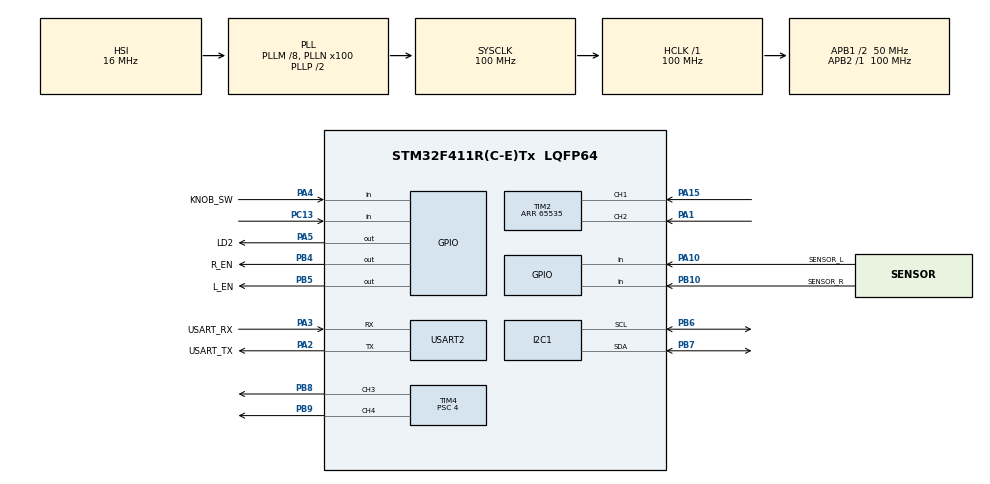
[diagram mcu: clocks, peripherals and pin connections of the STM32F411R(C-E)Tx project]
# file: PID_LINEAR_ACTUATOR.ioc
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Dma.Request0=USART2_TX
Dma.USART2_TX.0.Direction=DMA_MEMORY_TO_PERIPH
Dma.USART2_TX.0.FIFOMode=DMA_FIFOMODE_DISABLE
Dma.USART2_TX.0.Instance=DMA1_Stream6
Dma.USART2_TX.0.MemDataAlignment=DMA_MDATAALIGN_BYTE
Dma.USART2_TX.0.MemInc=DMA_MINC_ENABLE
Dma.USART2_TX.0.Mode=DMA_NORMAL
Dma.USART2_TX.0.PeriphDataAlignment=DMA_PDATAALIGN_BYTE
Dma.USART2_TX.0.PeriphInc=DMA_PINC_DISABLE
Dma.USART2_TX.0.Priority=DMA_PRIORITY_LOW
I2C1.I2C_Mode=I2C_Fast
Mcu.Family=STM32F4
Mcu.Name=STM32F411R(C-E)Tx
Mcu.Package=LQFP64
NVIC.DMA1_Stream6_IRQn=true\:0\:0\:false\:false\:true\:false\:true\:true
NVIC.PriorityGroup=NVIC_PRIORITYGROUP_0
NVIC.TIM1_UP_TIM10_IRQn=true\:0\:0\:false\:false\:true\:true\:true\:true
NVIC.USART2_IRQn=true\:0\:0\:false\:false\:true\:true\:true\:true
PA1.Signal=S_TIM2_CH2
PA10.GPIO_Label=SENSOR_L
PA10.Signal=GPIO_Input
PA13.GPIO_Label=TMS
PA13.Mode=Serial_Wire
PA13.Signal=SYS_JTMS-SWDIO
PA14.GPIO_Label=TCK
PA14.Mode=Serial_Wire
PA14.Signal=SYS_JTCK-SWCLK
PA15.Signal=S_TIM2_CH1_ETR
PA2.GPIO_Label=USART_TX
PA2.Mode=Asynchronous
PA2.Signal=USART2_TX
PA3.GPIO_Label=USART_RX
PA3.Mode=Asynchronous
PA3.Signal=USART2_RX
PA4.GPIO_Label=KNOB_SW
PA4.GPIO_PuPd=GPIO_PULLUP
PA4.Signal=GPIO_Input
PA5.GPIO_Label=LD2
PA5.Signal=GPIO_Output
PB10.GPIO_Label=SENSOR_R
PB10.Signal=GPIO_Input
PB3.GPIO_Label=SWO
PB3.Signal=SYS_JTDO-SWO
PB4.GPIO_Label=R_EN
PB4.Signal=GPIO_Output
PB5.GPIO_Label=L_EN
PB5.Signal=GPIO_Output
PB6.Mode=I2C
PB6.Signal=I2C1_SCL
PB7.Mode=I2C
PB7.Signal=I2C1_SDA
PB8.Signal=S_TIM4_CH3
PB9.Signal=S_TIM4_CH4
PC13-ANTI_TAMP.Signal=GPIO_Input
PC14-OSC32_IN.Mode=LSE-External-Oscillator
PC14-OSC32_IN.Signal=RCC_OSC32_IN
PC15-OSC32_OUT.Mode=LSE-External-Oscillator
PC15-OSC32_OUT.Signal=RCC_OSC32_OUT
PH0\ -\ OSC_IN.Mode=HSE-External-Clock-Source
PH0\ -\ OSC_IN.Signal=RCC_OSC_IN
PH1\ -\ OSC_OUT.Mode=HSE-External-Clock-Source
PH1\ -\ OSC_OUT.Signal=RCC_OSC_OUT
ProjectManager.HeapSize=0x200
ProjectManager.StackSize=0x400
ProjectManager.TargetToolchain=STM32CubeIDE
RCC.48MHZClocksFreq_Value=50000000
RCC.AHBFreq_Value=100000000
RCC.APB1CLKDivider=RCC_HCLK_DIV2
RCC.APB1Freq_Value=50000000
RCC.APB1TimFreq_Value=100000000
RCC.APB2Freq_Value=100000000
RCC.APB2TimFreq_Value=100000000
RCC.CortexFreq_Value=100000000
RCC.FLatency-AdvancedSettings=FLASH_LATENCY_3
RCC.HCLKFreq_Value=100000000
RCC.HSE_VALUE=8000000
RCC.HSI_VALUE=16000000
RCC.PLLM=8
RCC.PLLN=100
RCC.SYSCLKFreq_VALUE=100000000
RCC.SYSCLKSource=RCC_SYSCLKSOURCE_PLLCLK
RCC.VCOOutputFreq_Value=200000000
SH.S_TIM2_CH1_ETR.0=TIM2_CH1,Encoder_Interface
SH.S_TIM2_CH2.0=TIM2_CH2,Encoder_Interface
SH.S_TIM4_CH3.0=TIM4_CH3,PWM Generation3 CH3
SH.S_TIM4_CH4.0=TIM4_CH4,PWM Generation4 CH4
TIM10.Period=1999
TIM10.Prescaler=99
TIM2.IC1Filter=15
TIM2.IC2Filter=15
TIM2.Period=65535
TIM4.Channel-PWM\ Generation3\ CH3=TIM_CHANNEL_3
TIM4.Channel-PWM\ Generation4\ CH4=TIM_CHANNEL_4
TIM4.Period=999
TIM4.Prescaler=4
USART2.VirtualMode=VM_ASYNC
VP_TIM10_VS_ClockSourceINT.Mode=Enable_Timer
board=NUCLEO-F411RE

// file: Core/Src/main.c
/* USER CODE BEGIN Header */
/**
******************************************************************************
* @file : main.c
* @brief : Main program body
******************************************************************************
* @attention
*
* Copyright (c) 2026 STMicroelectronics.
* All rights reserved.
*
* This software is licensed under terms that can be found in the LICENSE file
* in the root directory of this software component.
* If no LICENSE file comes with this software, it is provided AS-IS.
*
******************************************************************************
*/
/* USER CODE END Header */
#include "main.h"
/* USER CODE BEGIN Includes */
#include <stdio.h>
#include <string.h>
#include <stdlib.h>
//#include "lcd_i2c.h"
/* USER CODE END Includes */

I2C_HandleTypeDef hi2c1;
TIM_HandleTypeDef htim2;
TIM_HandleTypeDef htim4;
TIM_HandleTypeDef htim10;
UART_HandleTypeDef huart2;
DMA_HandleTypeDef hdma_usart2_tx;

/* USER CODE BEGIN PV */

#define MIN_PWM 0
#define MAX_PWM 275 // Maksimum bo powyżej zasilacz/sterownik odcina
#define AS5600_ADDR (0x36 << 1)
#define RAW_ANGLE_REG 0x0C
#define IMPULSES_PER_MM   3296    // Ile impulsów enkodera na 1mm
#define MOTOR_DEADZONE    20      // Poniżej tego PWM silnik buczy a nie jedzie
#define HOMING_SPEED      -200    // Prędkość bazowania
#define HOMING_TIMEOUT_MS 10000   // 10 sekund na znalezienie bazy (inaczej BŁĄD)
#define MAX_TRAVEL_MM     255     // Maksymalny wysuw
#define PID_INTERVAL_MS   2       // Co ile działa PID (zgodnie z ustawieniami Timer10)
#define PID_DEADBAND 400

// --- ZMIENNE SYSTEMOWE ---

volatile int32_t total_position = 0;
volatile int32_t active_target_imp = 0;
volatile int motor_pwm = 0;
volatile uint16_t last_angle = 0;
volatile int is_first_read = 1;
int16_t knob_val = 0;
int32_t preview_position_mm = 0;
uint32_t last_button_time = 0;
char msg[128];
uint32_t uart_timer = 0;

// --- ZMIENNE PID ---
float Kp = 0.05;  // Wzmocnienie proporcjonalne
float Ki = 0.05;  // Całka
float Kd = 0.02; // Różniczka

int32_t error = 0;
int32_t last_error = 0;
int32_t integral = 0;

// Zmienne do komunikacji z PC
uint8_t rx_byte;
uint8_t rx_buffer[32];
uint8_t rx_index = 0;
volatile uint8_t cmd_received_flag = 0;
volatile uint8_t control_mode = 0;// Flaga sterowania: 0 = Gałka (Manual), 1 = PC (Automat)

/* USER CODE END PV */

void SystemClock_Config(void);
static void MX_GPIO_Init(void);
static void MX_DMA_Init(void);
static void MX_USART2_UART_Init(void);
static void MX_I2C1_Init(void);
static void MX_TIM2_Init(void);
static void MX_TIM4_Init(void);
static void MX_TIM10_Init(void);

/* USER CODE BEGIN 0 */

// Funkcje pomocnicze

// Nastawienie prędkości
void Set_Motor_Speed(int speed) {
    if (abs(speed) < MOTOR_DEADZONE) {
        __HAL_TIM_SET_COMPARE(&htim4, TIM_CHANNEL_3, 0);
        __HAL_TIM_SET_COMPARE(&htim4, TIM_CHANNEL_4, 0);
        return;
    }

    int abs_speed = abs(speed);
    if (abs_speed < MIN_PWM) abs_speed = MIN_PWM;
    if (abs_speed > MAX_PWM) abs_speed = MAX_PWM;

    if (speed > 0) {
        __HAL_TIM_SET_COMPARE(&htim4, TIM_CHANNEL_3, abs_speed);
        __HAL_TIM_SET_COMPARE(&htim4, TIM_CHANNEL_4, 0);
    } else {
        __HAL_TIM_SET_COMPARE(&htim4, TIM_CHANNEL_3, 0);
        __HAL_TIM_SET_COMPARE(&htim4, TIM_CHANNEL_4, abs_speed);
    }
}

// Odczyt z enkodera magnetycznego
uint16_t AS5600_ReadAngle(void) {
    uint8_t raw_data[2];
    // Timeout 2ms - musi być krótki, bo jesteśmy w przerwaniu!
    if (HAL_I2C_Mem_Read(&hi2c1, AS5600_ADDR, RAW_ANGLE_REG, I2C_MEMADD_SIZE_8BIT, raw_data, 2, 2) == HAL_OK) {
        return ((raw_data[0] << 8) | raw_data[1]);
    }
    return last_angle;
}

// Update pozycji
void Update_Position() {
    uint16_t curr_angle = AS5600_ReadAngle();
    if (is_first_read) {
        last_angle = curr_angle;
        is_first_read = 0; return;
    }
    int32_t diff = curr_angle - last_angle;
    if (diff > 2048)       total_position -= (4096 - diff);
    else if (diff < -2048) total_position += (4096 + diff);
    else                   total_position += diff;
    last_angle = curr_angle;
}

// Regulator
int Calculate_PID(int32_t current_pos, int32_t target_pos) {
    // 1. Error
    error = current_pos - target_pos;

    if (abs(error) < PID_DEADBAND) {
            error = 0;
            last_error = 0;
            integral = 0;
            return 0;
        }

    // 2. Proportional
    float P = error * Kp;

    // 3. Integral (z Anti-Windup)
    integral += error;
    //if (integral > 2000) integral = 2000;
    //if (integral < -2000) integral = -2000;
    float I = integral * Ki;

    // 4. Derivative
    float D = (error - last_error) * Kd;
    last_error = error;

    int output = (int)(P + I + D);
    if (output > MAX_PWM) output = MAX_PWM;
    if (output < -MAX_PWM) output = -MAX_PWM;

    return output;
}

//  bazowanie z timeoutem
void Auto_Homing(void) {
    char info[] = "BAZOWANIE...\r\n";
    HAL_UART_Transmit(&huart2, (uint8_t*)info, strlen(info), 100);

    Set_Motor_Speed(HOMING_SPEED);

    uint32_t start_tick = HAL_GetTick();

    while (HAL_GPIO_ReadPin(GPIOA, GPIO_PIN_10) != GPIO_PIN_RESET) {
        if (HAL_GetTick() - start_tick > HOMING_TIMEOUT_MS) {
            Set_Motor_Speed(0);
            char err[] = "BLAD: TIMEOUT KRANCOWKI!\r\n";
            HAL_UART_Transmit(&huart2, (uint8_t*)err, strlen(err), 100);
            while(1);
        }
    }

    Set_Motor_Speed(0);
    HAL_Delay(500);
    // Reset systemu
    __disable_irq(); // Wyłączamy przerwania na moment zerowania
    total_position = 0;
    active_target_imp = 0;
    last_angle = AS5600_ReadAngle();
    is_first_read = 0;
    __enable_irq();
    __HAL_TIM_SET_COUNTER(&htim2, 0);
    char ok[] = "BAZOWANIE OK. START.\r\n";
    HAL_UART_Transmit(&huart2, (uint8_t*)ok, strlen(ok), 100);
}

/* USER CODE END 0 */

int main(void)
{

  /* MCU Configuration--------------------------------------------------------*/

  /* Reset of all peripherals, Initializes the Flash interface and the Systick. */
  HAL_Init();

  /* Configure the system clock */
  SystemClock_Config();

  /* Initialize all configured peripherals */
  MX_GPIO_Init();
  MX_DMA_Init();
  MX_USART2_UART_Init();
  MX_I2C1_Init();
  MX_TIM2_Init();
  MX_TIM4_Init();
  MX_TIM10_Init();
  /* USER CODE BEGIN 2 */
  HAL_GPIO_WritePin(GPIOB, GPIO_PIN_5, GPIO_PIN_SET);
  HAL_GPIO_WritePin(GPIOB, GPIO_PIN_4, GPIO_PIN_SET);
  HAL_TIM_PWM_Start(&htim4, TIM_CHANNEL_3);
  HAL_TIM_PWM_Start(&htim4, TIM_CHANNEL_4);
  HAL_TIM_Encoder_Start(&htim2, TIM_CHANNEL_ALL);

  // Bazowanie
  Auto_Homing();
  HAL_TIM_Base_Start_IT(&htim10);
  HAL_UART_Receive_IT(&huart2, &rx_byte, 1);
  /* USER CODE END 2 */
  /* Infinite loop */
  while (1)
  {

    /* USER CODE BEGIN 3 */
	  // --- 1. ODBIÓR KOMEND Z PC --
	  if (cmd_received_flag) {
		  cmd_received_flag = 0;
		  // A. Komenda "MAN" -> Tryb Ręczny (Gałka)
		  if (strncmp((char*)rx_buffer, "MAN", 3) == 0) {
			  control_mode = 0;
			  // Synchronizacja gałki z aktualną pozycją (żeby nie szarpnęło)
			  if (preview_position_mm < 0) preview_position_mm = 0;
			  __HAL_TIM_SET_COUNTER(&htim2, preview_position_mm);
	            }
		  // B. Komenda "SET:xxx" -> Tryb PC
		  else if (strncmp((char*)rx_buffer, "SET:", 4) == 0) {
			  control_mode = 1; // Przełącz na PC
			  int new_mm = atoi((char*)rx_buffer + 4);
			  active_target_imp = new_mm * -IMPULSES_PER_MM;
			  preview_position_mm = new_mm;
		  }
		  else if (strncmp((char*)rx_buffer, "PID:", 4) == 0) {
			  float p, i, d;
			  if (sscanf((char*)rx_buffer, "PID:%f:%f:%f", &p, &i, &d) == 3) {
				  Kp = p; Ki = i; Kd = d;
			  }
		  }
	  }
	  // --- 2. OBSŁUGA MANUALNA (GAŁKA) ---
	  // Działa tylko w trybie 0.
	  if (control_mode == 0) {
		  int16_t raw_knob = (int16_t)__HAL_TIM_GET_COUNTER(&htim2);
		  if (raw_knob < 0) { __HAL_TIM_SET_COUNTER(&htim2, 0); raw_knob = 0; }
		  if (raw_knob > MAX_TRAVEL_MM) { __HAL_TIM_SET_COUNTER(&htim2, MAX_TRAVEL_MM); raw_knob = MAX_TRAVEL_MM; }
		  preview_position_mm = raw_knob;
		  // Przycisk fizyczny
		  if (HAL_GPIO_ReadPin(KNOB_SW_GPIO_Port, KNOB_SW_Pin) == GPIO_PIN_RESET) {
			  if (HAL_GetTick() - last_button_time > 300) {
				  last_button_time = HAL_GetTick();
				  active_target_imp = preview_position_mm * -IMPULSES_PER_MM;
				  HAL_GPIO_TogglePin(LD2_GPIO_Port, LD2_Pin);
			  }
		  }
	  }
	  // --- 3. WYSYŁANIE DANYCH (TELEMETRIA) ---
	  if (HAL_GetTick() - uart_timer >= 100) {
		  uart_timer = HAL_GetTick();
		  if (huart2.gState == HAL_UART_STATE_READY) {
			  int current_mm = total_position / -IMPULSES_PER_MM;
			  int active_mm = active_target_imp / -IMPULSES_PER_MM;
			  int err_mm = error / -IMPULSES_PER_MM;
			  // Format: DAT,czas,CEL,AKTUALNA,ERR,PWM,KP,KD,TRYB
			  int len = sprintf(msg, "DAT,%ld,%d,%d,%d,%d,%d,%d,%d\r\n",HAL_GetTick(),active_mm,current_mm,err_mm,motor_pwm,(int)(Kp*100), (int)(Kd*100), control_mode);
			  HAL_UART_Transmit_DMA(&huart2, (uint8_t*)msg, len);
		  }
	  }
  }
  /* USER CODE END 3 */
}

void SystemClock_Config(void)
{
  RCC_OscInitTypeDef RCC_OscInitStruct = {0};
  RCC_ClkInitTypeDef RCC_ClkInitStruct = {0};

  /** Configure the main internal regulator output voltage
  */
  __HAL_RCC_PWR_CLK_ENABLE();
  __HAL_PWR_VOLTAGESCALING_CONFIG(PWR_REGULATOR_VOLTAGE_SCALE1);
  /** Initializes the RCC Oscillators according to the specified parameters
  * in the RCC_OscInitTypeDef structure.
  */
  RCC_OscInitStruct.OscillatorType = RCC_OSCILLATORTYPE_HSI;
  RCC_OscInitStruct.HSIState = RCC_HSI_ON;
  RCC_OscInitStruct.HSICalibrationValue = RCC_HSICALIBRATION_DEFAULT;
  RCC_OscInitStruct.PLL.PLLState = RCC_PLL_ON;
  RCC_OscInitStruct.PLL.PLLSource = RCC_PLLSOURCE_HSI;
  RCC_OscInitStruct.PLL.PLLM = 8;
  RCC_OscInitStruct.PLL.PLLN = 100;
  RCC_OscInitStruct.PLL.PLLP = RCC_PLLP_DIV2;
  RCC_OscInitStruct.PLL.PLLQ = 4;
  if (HAL_RCC_OscConfig(&RCC_OscInitStruct) != HAL_OK)
  {
    Error_Handler();
  }
  /** Initializes the CPU, AHB and APB buses clocks
  */
  RCC_ClkInitStruct.ClockType = RCC_CLOCKTYPE_HCLK|RCC_CLOCKTYPE_SYSCLK
                              |RCC_CLOCKTYPE_PCLK1|RCC_CLOCKTYPE_PCLK2;
  RCC_ClkInitStruct.SYSCLKSource = RCC_SYSCLKSOURCE_PLLCLK;
  RCC_ClkInitStruct.AHBCLKDivider = RCC_SYSCLK_DIV1;
  RCC_ClkInitStruct.APB1CLKDivider = RCC_HCLK_DIV2;
  RCC_ClkInitStruct.APB2CLKDivider = RCC_HCLK_DIV1;
  if (HAL_RCC_ClockConfig(&RCC_ClkInitStruct, FLASH_LATENCY_3) != HAL_OK)
  {
    Error_Handler();
  }
}
static void MX_I2C1_Init(void)
{

  hi2c1.Instance = I2C1;
  hi2c1.Init.ClockSpeed = 400000;
  hi2c1.Init.DutyCycle = I2C_DUTYCYCLE_2;
  hi2c1.Init.OwnAddress1 = 0;
  hi2c1.Init.AddressingMode = I2C_ADDRESSINGMODE_7BIT;
  hi2c1.Init.DualAddressMode = I2C_DUALADDRESS_DISABLE;
  hi2c1.Init.OwnAddress2 = 0;
  hi2c1.Init.GeneralCallMode = I2C_GENERALCALL_DISABLE;
  hi2c1.Init.NoStretchMode = I2C_NOSTRETCH_DISABLE;
  if (HAL_I2C_Init(&hi2c1) != HAL_OK)
  {
    Error_Handler();
  }

}

static void MX_TIM2_Init(void)
{

  TIM_Encoder_InitTypeDef sConfig = {0};
  TIM_MasterConfigTypeDef sMasterConfig = {0};

  htim2.Instance = TIM2;
  htim2.Init.Prescaler = 0;
  htim2.Init.CounterMode = TIM_COUNTERMODE_UP;
  htim2.Init.Period = 65535;
  htim2.Init.ClockDivision = TIM_CLOCKDIVISION_DIV1;
  htim2.Init.AutoReloadPreload = TIM_AUTORELOAD_PRELOAD_DISABLE;
  sConfig.EncoderMode = TIM_ENCODERMODE_TI1;
  sConfig.IC1Polarity = TIM_ICPOLARITY_RISING;
  sConfig.IC1Selection = TIM_ICSELECTION_DIRECTTI;
  sConfig.IC1Prescaler = TIM_ICPSC_DIV1;
  sConfig.IC1Filter = 15;
  sConfig.IC2Polarity = TIM_ICPOLARITY_RISING;
  sConfig.IC2Selection = TIM_ICSELECTION_DIRECTTI;
  sConfig.IC2Prescaler = TIM_ICPSC_DIV1;
  sConfig.IC2Filter = 15;
  if (HAL_TIM_Encoder_Init(&htim2, &sConfig) != HAL_OK)
  {
    Error_Handler();
  }
  sMasterConfig.MasterOutputTrigger = TIM_TRGO_RESET;
  sMasterConfig.MasterSlaveMode = TIM_MASTERSLAVEMODE_DISABLE;
  if (HAL_TIMEx_MasterConfigSynchronization(&htim2, &sMasterConfig) != HAL_OK)
  {
    Error_Handler();
  }

}

static void MX_TIM4_Init(void)
{

  TIM_MasterConfigTypeDef sMasterConfig = {0};
  TIM_OC_InitTypeDef sConfigOC = {0};

  htim4.Instance = TIM4;
  htim4.Init.Prescaler = 4;
  htim4.Init.CounterMode = TIM_COUNTERMODE_UP;
  htim4.Init.Period = 999;
  htim4.Init.ClockDivision = TIM_CLOCKDIVISION_DIV1;
  htim4.Init.AutoReloadPreload = TIM_AUTORELOAD_PRELOAD_DISABLE;
  if (HAL_TIM_PWM_Init(&htim4) != HAL_OK)
  {
    Error_Handler();
  }
  sMasterConfig.MasterOutputTrigger = TIM_TRGO_RESET;
  sMasterConfig.MasterSlaveMode = TIM_MASTERSLAVEMODE_DISABLE;
  if (HAL_TIMEx_MasterConfigSynchronization(&htim4, &sMasterConfig) != HAL_OK)
  {
    Error_Handler();
  }
  sConfigOC.OCMode = TIM_OCMODE_PWM1;
  sConfigOC.Pulse = 0;
  sConfigOC.OCPolarity = TIM_OCPOLARITY_HIGH;
  sConfigOC.OCFastMode = TIM_OCFAST_DISABLE;
  if (HAL_TIM_PWM_ConfigChannel(&htim4, &sConfigOC, TIM_CHANNEL_3) != HAL_OK)
  {
    Error_Handler();
  }
  if (HAL_TIM_PWM_ConfigChannel(&htim4, &sConfigOC, TIM_CHANNEL_4) != HAL_OK)
  {
    Error_Handler();
  }
  HAL_TIM_MspPostInit(&htim4);

}

static void MX_TIM10_Init(void)
{

  htim10.Instance = TIM10;
  htim10.Init.Prescaler = 99;
  htim10.Init.CounterMode = TIM_COUNTERMODE_UP;
  htim10.Init.Period = 1999;
  htim10.Init.ClockDivision = TIM_CLOCKDIVISION_DIV1;
  htim10.Init.AutoReloadPreload = TIM_AUTORELOAD_PRELOAD_DISABLE;
  if (HAL_TIM_Base_Init(&htim10) != HAL_OK)
  {
    Error_Handler();
  }

}

static void MX_USART2_UART_Init(void)
{

  huart2.Instance = USART2;
  huart2.Init.BaudRate = 115200;
  huart2.Init.WordLength = UART_WORDLENGTH_8B;
  huart2.Init.StopBits = UART_STOPBITS_1;
  huart2.Init.Parity = UART_PARITY_NONE;
  huart2.Init.Mode = UART_MODE_TX_RX;
  huart2.Init.HwFlowCtl = UART_HWCONTROL_NONE;
  huart2.Init.OverSampling = UART_OVERSAMPLING_16;
  if (HAL_UART_Init(&huart2) != HAL_OK)
  {
    Error_Handler();
  }

}

static void MX_DMA_Init(void)
{

  /* DMA controller clock enable */
  __HAL_RCC_DMA1_CLK_ENABLE();
  /* DMA interrupt init */
  /* DMA1_Stream6_IRQn interrupt configuration */
  HAL_NVIC_SetPriority(DMA1_Stream6_IRQn, 0, 0);
  HAL_NVIC_EnableIRQ(DMA1_Stream6_IRQn);

}

static void MX_GPIO_Init(void)
{
  GPIO_InitTypeDef GPIO_InitStruct = {0};

  /* GPIO Ports Clock Enable */
  __HAL_RCC_GPIOC_CLK_ENABLE();
  __HAL_RCC_GPIOH_CLK_ENABLE();
  __HAL_RCC_GPIOA_CLK_ENABLE();
  __HAL_RCC_GPIOB_CLK_ENABLE();

  /*Configure GPIO pin Output Level */
  HAL_GPIO_WritePin(LD2_GPIO_Port, LD2_Pin, GPIO_PIN_RESET);

  /*Configure GPIO pin Output Level */
  HAL_GPIO_WritePin(GPIOB, R_EN_Pin|L_EN_Pin, GPIO_PIN_RESET);

  /*Configure GPIO pin : PC13 */
  GPIO_InitStruct.Pin = GPIO_PIN_13;
  GPIO_InitStruct.Mode = GPIO_MODE_INPUT;
  GPIO_InitStruct.Pull = GPIO_NOPULL;
  HAL_GPIO_Init(GPIOC, &GPIO_InitStruct);

  /*Configure GPIO pin : KNOB_SW_Pin */
  GPIO_InitStruct.Pin = KNOB_SW_Pin;
  GPIO_InitStruct.Mode = GPIO_MODE_INPUT;
  GPIO_InitStruct.Pull = GPIO_PULLUP;
  HAL_GPIO_Init(KNOB_SW_GPIO_Port, &GPIO_InitStruct);

  /*Configure GPIO pin : LD2_Pin */
  GPIO_InitStruct.Pin = LD2_Pin;
  GPIO_InitStruct.Mode = GPIO_MODE_OUTPUT_PP;
  GPIO_InitStruct.Pull = GPIO_NOPULL;
  GPIO_InitStruct.Speed = GPIO_SPEED_FREQ_LOW;
  HAL_GPIO_Init(LD2_GPIO_Port, &GPIO_InitStruct);

  /*Configure GPIO pin : SENSOR_R_Pin */
  GPIO_InitStruct.Pin = SENSOR_R_Pin;
  GPIO_InitStruct.Mode = GPIO_MODE_INPUT;
  GPIO_InitStruct.Pull = GPIO_NOPULL;
  HAL_GPIO_Init(SENSOR_R_GPIO_Port, &GPIO_InitStruct);

  /*Configure GPIO pin : SENSOR_L_Pin */
  GPIO_InitStruct.Pin = SENSOR_L_Pin;
  GPIO_InitStruct.Mode = GPIO_MODE_INPUT;
  GPIO_InitStruct.Pull = GPIO_NOPULL;
  HAL_GPIO_Init(SENSOR_L_GPIO_Port, &GPIO_InitStruct);

  /*Configure GPIO pins : R_EN_Pin L_EN_Pin */
  GPIO_InitStruct.Pin = R_EN_Pin|L_EN_Pin;
  GPIO_InitStruct.Mode = GPIO_MODE_OUTPUT_PP;
  GPIO_InitStruct.Pull = GPIO_NOPULL;
  GPIO_InitStruct.Speed = GPIO_SPEED_FREQ_LOW;
  HAL_GPIO_Init(GPIOB, &GPIO_InitStruct);

}

/* USER CODE BEGIN 4 */

void HAL_TIM_PeriodElapsedCallback(TIM_HandleTypeDef *htim) {
    if (htim->Instance == TIM10) {
    	Update_Position();
        motor_pwm = Calculate_PID(total_position, active_target_imp);
        if (HAL_GPIO_ReadPin(GPIOA, GPIO_PIN_10) == GPIO_PIN_RESET && motor_pwm < 0) motor_pwm = 0;
        if (HAL_GPIO_ReadPin(GPIOB, GPIO_PIN_10) == GPIO_PIN_RESET && motor_pwm > 0) motor_pwm = 0;
        Set_Motor_Speed(motor_pwm);
    }
}

// Callback od odbioru UART
void HAL_UART_RxCpltCallback(UART_HandleTypeDef *huart) {
	if (huart->Instance == USART2) {
		if (rx_byte == '\n' || rx_byte == '\r') {
			rx_buffer[rx_index] = 0;
            cmd_received_flag = 1;
            rx_index = 0;
		}
		else {
			if (rx_index < 31) rx_buffer[rx_index++] = rx_byte;
		}
		HAL_UART_Receive_IT(&huart2, &rx_byte, 1);
	}
}

/* USER CODE END 4 */

void Error_Handler(void)
{
__disable_irq();
while (1)
{
}
}
